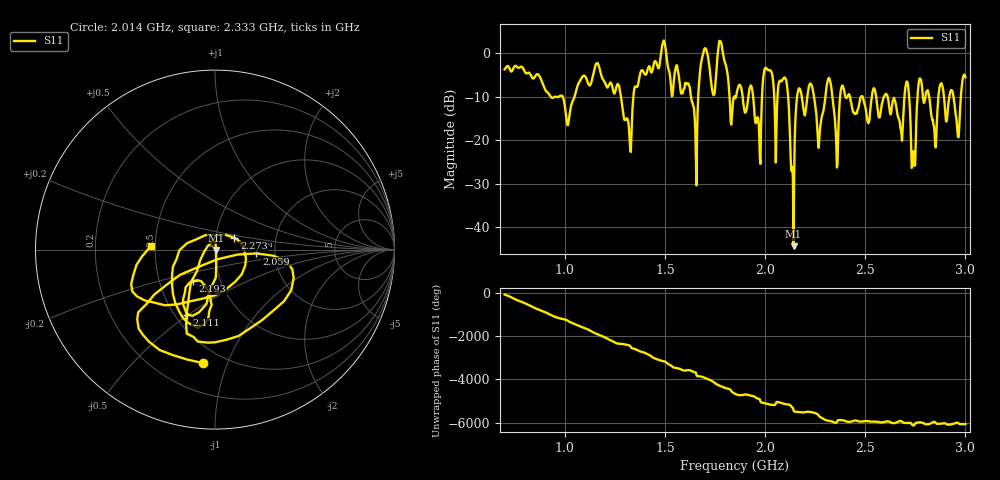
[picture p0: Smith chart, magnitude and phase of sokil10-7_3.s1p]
# HZ S RI R 50
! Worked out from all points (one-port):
!   808 points, 700 MHz to 3 GHz, reference 50 ohm
!   lowest |S11| = -44.3 dB at 2.142 GHz (marker M1), VSWR 1.01, Z = 50.6 - j0.183 ohm
!   |S11| at or under -10 dB: 989.5 MHz to 1.049 GHz (59.84 MHz wide, 5.87 % of centre); 1.281 GHz to 1.343 GHz (62.25 MHz wide, 4.75 % of centre); 2.611 GHz to 2.696 GHz (84.65 MHz wide, 3.19 % of centre)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
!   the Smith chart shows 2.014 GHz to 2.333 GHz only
!   S11 on the Smith chart (normalised r, x): 2.014 GHz: 0.39, -0.82; 2.059 GHz: 1.60, -0.07; 2.111 GHz: 0.57, -0.49; 2.193 GHz: 0.74, -0.27; 2.273 GHz: 1.23, +0.16; 2.333 GHz: 0.47, +0.02
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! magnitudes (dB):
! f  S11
! 700 MHz  -3.8
! 987.9 MHz  -9.8
! 1.276 GHz  -8.8
! 1.324 GHz  -19.8
! 1.384 GHz  -4.0
! 1.564 GHz  -3.9
! 1.652 GHz  -17.8
! 1.698 GHz  0.9
! 1.851 GHz  -10.4
! 1.968 GHz  -16.1
! 2.014 GHz  -3.9
! 2.059 GHz  -12.7
! 2.111 GHz  -8.0
! 2.139 GHz  -29.2
! 2.142 GHz  -44.3
! 2.165 GHz  -8.8
! 2.193 GHz  -13.3
! 2.273 GHz  -17.9
! 2.333 GHz  -8.9
! 2.356 GHz  -21.5
! 2.427 GHz  -11.0
! 2.715 GHz  -7.9
! 2.741 GHz  -22.5
! 2.772 GHz  -5.9
! 2.846 GHz  -18.2
! 2.877 GHz  -7.1
! 2.963 GHz  -19.2
! 3 GHz  -5.6
